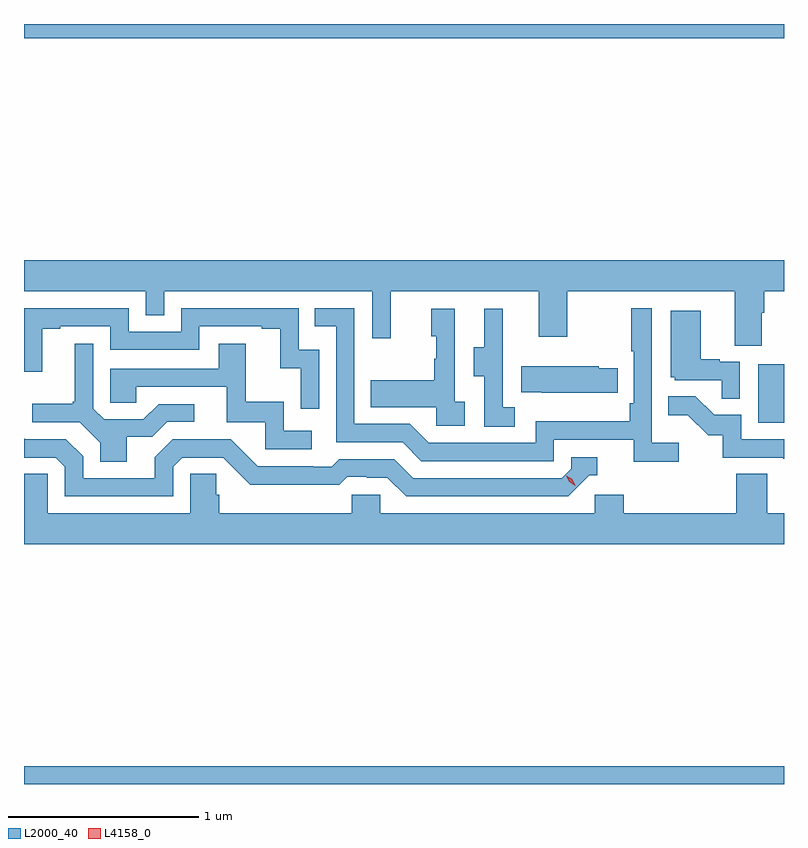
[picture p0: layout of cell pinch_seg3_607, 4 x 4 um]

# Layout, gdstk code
import gdstk
lib = gdstk.Library(unit=1e-6, precision=1e-09)
def R(c, l, rs):  # rectangles x0, y0, x1, y1
    for r in rs: c.add(gdstk.rectangle(r[:2], r[2:], *l))
def P(c, l, *ps):  # polygons
    for p in ps: c.add(gdstk.Polygon(p, *l))
L2000_40 = (2000, 40)
L4158_0 = (4158, 0)

pinch_seg3_607 = lib.new_cell('pinch_seg3_607')
R(pinch_seg3_607, L2000_40, [(1035.067,694.327,1039.067,694.42), (1038.932,696.228,1039.067,696.535), (1035.067,698.252,1039.067,698.327)])
P(pinch_seg3_607, L2000_40, [(1038.949,696.808),(1038.962,696.808),(1038.962,696.92),(1039.067,696.92),(1039.067,697.084),(1035.067,697.084),(1035.067,696.92),(1035.708,696.92),(1035.708,696.793),(1035.804,696.793),(1035.804,696.92),(1036.899,696.92),(1036.899,696.672),(1036.997,696.672),(1036.997,696.92),(1037.777,696.92),(1037.777,696.681),(1037.925,696.681),(1037.925,696.92),(1038.809,696.92),(1038.809,696.634),(1038.949,696.634)],
  [(1038.514,696.124),(1038.372,696.124),(1038.372,696.832),(1038.264,696.832),(1038.264,696.604),(1038.276,696.604),(1038.276,696.331),(1038.256,696.331),(1038.256,696.235),(1037.76,696.235),(1037.76,696.123),(1037.196,696.123),(1037.097,696.222),(1036.806,696.222),(1036.806,696.831),(1036.597,696.831),(1036.597,696.735),(1036.71,696.735),(1036.71,696.126),(1037.06,696.126),(1037.159,696.027),(1037.856,696.027),(1037.856,696.138),(1038.275,696.138),(1038.275,696.022),(1038.514,696.022)],
  [(1036.62,696.612),(1036.512,696.612),(1036.512,696.831),(1035.894,696.831),(1035.894,696.708),(1035.618,696.708),(1035.618,696.831),(1035.067,696.831),(1035.067,696.497),(1035.163,696.497),(1035.163,696.723),(1035.259,696.723),(1035.259,696.735),(1035.522,696.735),(1035.522,696.612),(1035.99,696.612),(1035.99,696.735),(1036.319,696.735),(1036.319,696.723),(1036.415,696.723),(1036.415,696.515),(1036.524,696.515),(1036.524,696.303),(1036.62,696.303)],
  [(1037.386,696.338),(1037.334,696.338),(1037.334,696.829),(1037.21,696.829),(1037.21,696.684),(1037.236,696.684),(1037.236,696.566),(1037.226,696.566),(1037.226,696.451),(1036.891,696.451),(1036.891,696.311),(1037.238,696.311),(1037.238,696.213),(1037.386,696.213)],
  [(1037.65,696.311),(1037.586,696.311),(1037.586,696.615),(1037.588,696.615),(1037.588,696.829),(1037.489,696.829),(1037.489,696.627),(1037.435,696.627),(1037.435,696.472),(1037.49,696.472),(1037.49,696.208),(1037.65,696.208)],
  [(1038.834,696.549),(1038.728,696.549),(1038.728,696.562),(1038.628,696.562),(1038.628,696.817),(1038.47,696.817),(1038.47,696.468),(1038.492,696.468),(1038.492,696.453),(1038.739,696.453),(1038.739,696.355),(1038.834,696.355)],
  [(1036.582,696.186),(1036.434,696.186),(1036.434,696.34),(1036.235,696.34),(1036.235,696.643),(1036.091,696.643),(1036.091,696.513),(1035.522,696.513),(1035.522,696.333),(1035.659,696.333),(1035.659,696.417),(1036.133,696.417),(1036.133,696.231),(1036.338,696.231),(1036.338,696.09),(1036.582,696.09)],
  [(1035.607,696.154),(1035.742,696.154),(1035.822,696.234),(1035.964,696.234),(1035.964,696.327),(1035.776,696.327),(1035.695,696.246),(1035.489,696.246),(1035.432,696.303),(1035.432,696.643),(1035.335,696.643),(1035.335,696.34),(1035.324,696.34),(1035.324,696.328),(1035.111,696.328),(1035.111,696.231),(1035.36,696.231),(1035.467,696.124),(1035.467,696.022),(1035.607,696.022)],
  [(1038.191,696.516),(1038.093,696.516),(1038.093,696.526),(1037.683,696.526),(1037.683,696.389),(1037.791,696.389),(1037.791,696.386),(1038.191,696.386)],
  [(1039.067,696.141),(1038.843,696.141),(1038.843,696.27),(1038.699,696.27),(1038.601,696.368),(1038.457,696.368),(1038.457,696.269),(1038.561,696.269),(1038.668,696.162),(1038.745,696.162),(1038.745,696.045),(1039.063,696.045),(1039.063,696.04),(1039.067,696.04)],
  [(1035.852,695.997),(1035.9,696.045),(1036.116,696.045),(1036.258,695.903),(1036.494,695.903),(1036.494,695.901),(1036.727,695.901),(1036.769,695.943),(1036.872,695.943),(1036.872,695.94),(1036.979,695.94),(1037.078,695.841),(1037.931,695.841),(1038.042,695.952),(1038.085,695.952),(1038.085,696.048),(1037.946,696.048),(1037.946,695.985),(1037.898,695.937),(1037.115,695.937),(1037.016,696.036),(1036.727,696.036),(1036.688,695.997),(1036.589,695.997),(1036.589,696),(1036.296,696),(1036.155,696.141),(1035.849,696.141),(1035.755,696.047),(1035.755,695.937),(1035.378,695.937),(1035.378,696.051),(1035.288,696.141),(1035.072,696.141),(1035.072,696.143),(1035.067,696.143),(1035.067,696.045),(1035.234,696.045),(1035.282,695.997),(1035.282,695.841),(1035.852,695.841)],
  [(1039.067,695.752),(1038.98,695.752),(1038.98,695.96),(1038.815,695.96),(1038.815,695.752),(1038.224,695.752),(1038.224,695.85),(1038.072,695.85),(1038.072,695.752),(1036.941,695.752),(1036.941,695.85),(1036.791,695.85),(1036.791,695.752),(1036.094,695.752),(1036.094,695.85),(1036.079,695.85),(1036.079,695.96),(1035.942,695.96),(1035.942,695.752),(1035.192,695.752),(1035.192,695.96),(1035.067,695.96),(1035.067,695.588),(1039.067,695.588)])
P(pinch_seg3_607, L4158_0, [(1037.968,695.898),(1037.937,695.917),(1037.92,695.95),(1037.92,695.95),(1037.921,695.95),(1037.952,695.93),(1037.968,695.898),(1037.968,695.898)])

lib.write_gds('pinch_seg3_607.gds')
